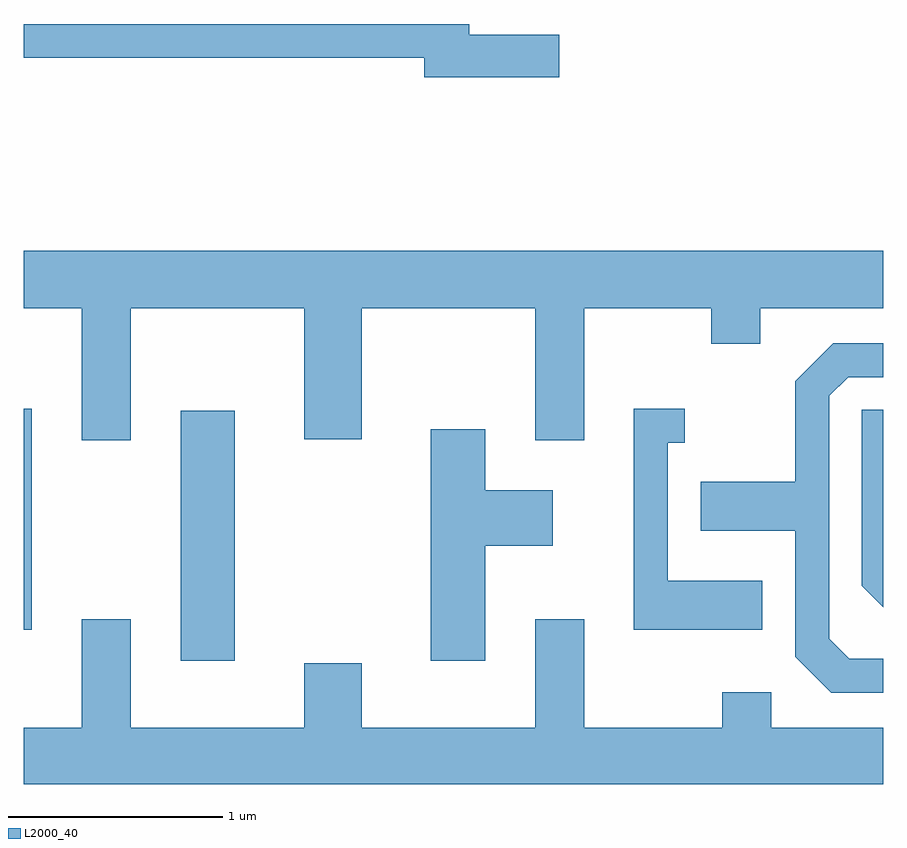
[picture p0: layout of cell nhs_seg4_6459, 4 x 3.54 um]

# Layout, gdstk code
import gdstk
lib = gdstk.Library(unit=1e-6, precision=1e-09)
def R(c, l, rs):  # rectangles x0, y0, x1, y1
    for r in rs: c.add(gdstk.rectangle(r[:2], r[2:], *l))
def P(c, l, *ps):  # polygons
    for p in ps: c.add(gdstk.Polygon(p, *l))
L2000_40 = (2000, 40)

nhs_seg4_6459 = lib.new_cell('nhs_seg4_6459')
R(nhs_seg4_6459, L2000_40, [(374.341,1388.556,374.594,1389.719), (373.611,1388.701,373.649,1389.729)])
P(nhs_seg4_6459, L2000_40, [(376.104,1391.469),(375.684,1391.469),(375.684,1391.519),(373.611,1391.519),(373.611,1391.361),(375.476,1391.361),(375.476,1391.271),(376.104,1391.271)],
  [(373.611,1390.196),(373.881,1390.196),(373.881,1389.581),(374.109,1389.581),(374.109,1390.196),(374.916,1390.196),(374.916,1389.586),(375.184,1389.586),(375.184,1390.196),(375.991,1390.196),(375.991,1389.581),(376.219,1389.581),(376.219,1390.196),(376.811,1390.196),(376.811,1390.031),(377.039,1390.031),(377.039,1390.196),(377.611,1390.196),(377.611,1390.464),(373.611,1390.464)],
  [(377.611,1388.564),(377.452,1388.564),(377.359,1388.657),(377.359,1389.789),(377.447,1389.876),(377.611,1389.876),(377.611,1390.034),(377.379,1390.034),(377.201,1389.857),(377.201,1389.389),(376.761,1389.389),(376.761,1389.161),(377.201,1389.161),(377.201,1388.574),(377.369,1388.406),(377.611,1388.406)],
  [(377.049,1388.929),(376.609,1388.929),(376.609,1389.571),(376.688,1389.571),(376.688,1389.729),(376.451,1389.729),(376.451,1388.701),(377.049,1388.701)],
  [(377.611,1389.724),(377.511,1389.724),(377.511,1388.904),(377.611,1388.804)],
  [(375.759,1389.091),(376.074,1389.091),(376.074,1389.349),(375.759,1389.349),(375.759,1389.634),(375.506,1389.634),(375.506,1388.556),(375.759,1388.556)],
  [(377.611,1388.244),(377.089,1388.244),(377.089,1388.409),(376.861,1388.409),(376.861,1388.244),(376.219,1388.244),(376.219,1388.749),(375.991,1388.749),(375.991,1388.244),(375.184,1388.244),(375.184,1388.544),(374.916,1388.544),(374.916,1388.244),(374.109,1388.244),(374.109,1388.749),(373.881,1388.749),(373.881,1388.244),(373.611,1388.244),(373.611,1387.982),(377.611,1387.982)])

lib.write_gds('nhs_seg4_6459.gds')
